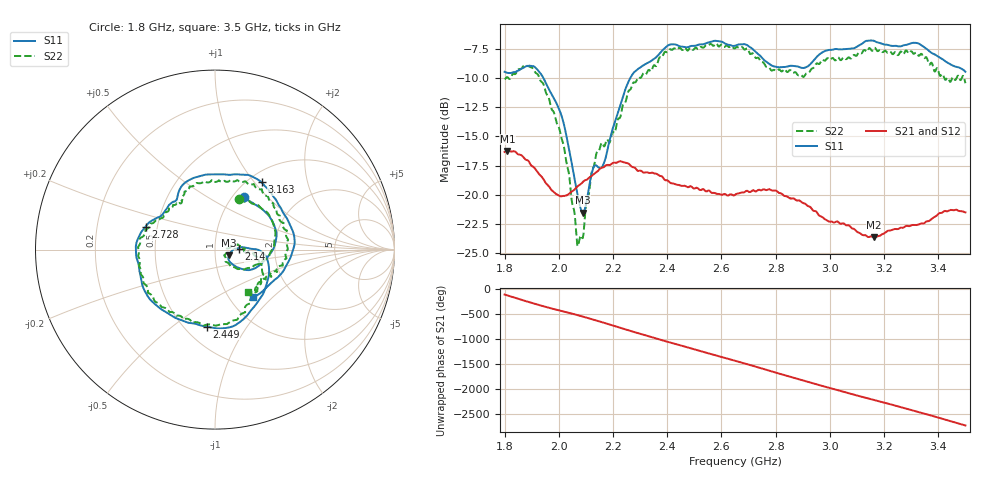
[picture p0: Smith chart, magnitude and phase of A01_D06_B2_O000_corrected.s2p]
! Created with skrf 1.9.0 (http://scikit-rf.org).
# Hz S RI R 50.0
!freq ReS11 ImS11 ReS21 ImS21 ReS12 ImS12 ReS22 ImS22
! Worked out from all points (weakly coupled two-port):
!   1601 points, 1.8 GHz to 3.5 GHz, reference 50 ohm
!   highest |S21| = -16.24 dB at 1.811 GHz (marker M1); lowest = -23.6 dB at 3.163 GHz (marker M2)
!   lowest |S11| = -21.5 dB at 2.089 GHz (marker M3), VSWR 1.18, Z = 58.3 - j3.73 ohm
!   |S11| at or under -10 dB: 1.943 GHz to 2.264 GHz (320.7 MHz wide, 15.2 % of centre)
!   |S22| runs from -24.4 to -7.0 dB; largest |S21 - S12| = 0.0025
!   S11 on the Smith chart (normalised r, x): 1.8 GHz: 1.12, +0.75; 2.14 GHz: 1.31, +0.01; 2.449 GHz: 0.64, -0.67; 2.728 GHz: 0.43, +0.13; 3.163 GHz: 1.15, +1.09; 3.5 GHz: 1.28, -0.76
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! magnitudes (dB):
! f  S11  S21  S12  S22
! 1.8 GHz  -9.5  -16.3  -16.3  -10.1
! 1.811 GHz  -9.6  -16.2  -16.2  -9.9
! 1.881 GHz  -9.0  -17.0  -17.0  -9.0
! 1.941 GHz  -9.9  -18.6  -18.6  -10.4
! 2.013 GHz  -13.4  -20.1  -20.1  -15.4
! 2.068 GHz  -19.8  -19.3  -19.3  -24.2
! 2.084 GHz  -21.4  -19.0  -19.0  -23.6
! 2.089 GHz  -21.5  -18.9  -18.9  -23.6
! 2.124 GHz  -17.9  -18.3  -18.3  -17.8
! 2.14 GHz  -17.5  -18.0  -18.0  -16.4
! 2.167 GHz  -17.3  -17.6  -17.6  -15.9
! 2.265 GHz  -9.9  -17.5  -17.5  -10.9
! 2.367 GHz  -8.0  -18.3  -18.3  -8.5
! 2.449 GHz  -7.3  -19.2  -19.2  -7.4
! 2.65 GHz  -7.2  -20.0  -20.0  -7.5
! 2.728 GHz  -7.8  -19.7  -19.7  -8.3
! 2.803 GHz  -9.1  -19.7  -19.7  -9.4
! 2.934 GHz  -8.7  -21.2  -21.2  -9.2
! 3.163 GHz  -6.8  -23.6  -23.6  -7.5
! 3.217 GHz  -7.2  -23.1  -23.0  -7.8
! 3.325 GHz  -7.0  -22.6  -22.5  -8.0
! 3.5 GHz  -9.5  -21.5  -21.5  -10.4
